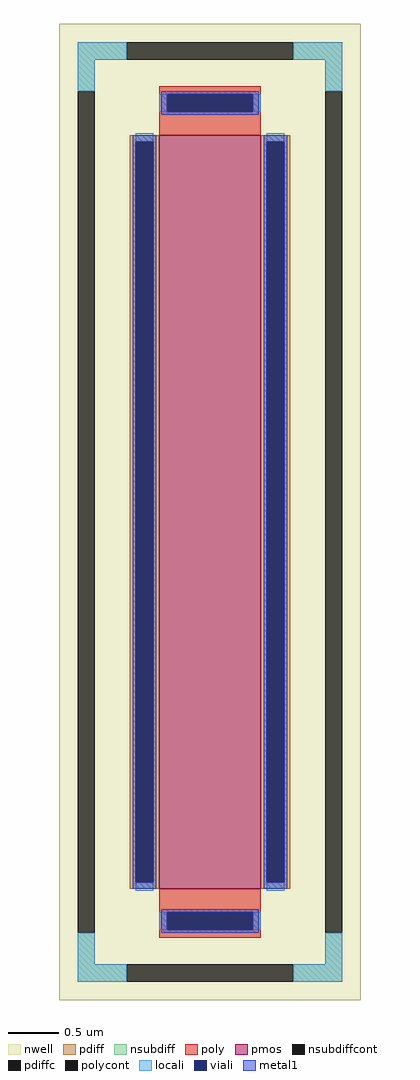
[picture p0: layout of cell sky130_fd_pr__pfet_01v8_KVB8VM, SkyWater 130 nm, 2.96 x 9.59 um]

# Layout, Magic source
magic
tech sky130A
magscale 1 2
<< nwell >>
rect -296 -959 296 959
<< pmos >>
rect -100 -740 100 740
<< pdiff >>
rect -158 728 -100 740
rect -158 -728 -146 728
rect -112 -728 -100 728
rect -158 -740 -100 -728
rect 100 728 158 740
rect 100 -728 112 728
rect 146 -728 158 728
rect 100 -740 158 -728
<< pdiffc >>
rect -146 -728 -112 728
rect 112 -728 146 728
<< nsubdiff >>
rect -260 889 -164 923
rect 164 889 260 923
rect -260 827 -226 889
rect 226 827 260 889
rect -260 -889 -226 -827
rect 226 -889 260 -827
rect -260 -923 -164 -889
rect 164 -923 260 -889
<< nsubdiffcont >>
rect -164 889 164 923
rect -260 -827 -226 827
rect 226 -827 260 827
rect -164 -923 164 -889
<< poly >>
rect -100 821 100 837
rect -100 787 -84 821
rect 84 787 100 821
rect -100 740 100 787
rect -100 -787 100 -740
rect -100 -821 -84 -787
rect 84 -821 100 -787
rect -100 -837 100 -821
<< polycont >>
rect -84 787 84 821
rect -84 -821 84 -787
<< locali >>
rect -260 889 -164 923
rect 164 889 260 923
rect -260 827 -226 889
rect 226 827 260 889
rect -100 787 -84 821
rect 84 787 100 821
rect -146 728 -112 744
rect -146 -744 -112 -728
rect 112 728 146 744
rect 112 -744 146 -728
rect -100 -821 -84 -787
rect 84 -821 100 -787
rect -260 -889 -226 -827
rect 226 -889 260 -827
rect -260 -923 -164 -889
rect 164 -923 260 -889
<< viali >>
rect -84 787 84 821
rect -146 -728 -112 728
rect 112 -728 146 728
rect -84 -821 84 -787
<< metal1 >>
rect -96 821 96 827
rect -96 787 -84 821
rect 84 787 96 821
rect -96 781 96 787
rect -152 728 -106 740
rect -152 -728 -146 728
rect -112 -728 -106 728
rect -152 -740 -106 -728
rect 106 728 152 740
rect 106 -728 112 728
rect 146 -728 152 728
rect 106 -740 152 -728
rect -96 -787 96 -781
rect -96 -821 -84 -787
rect 84 -821 96 -787
rect -96 -827 96 -821
<< properties >>
string FIXED_BBOX -243 -906 243 906
string gencell sky130_fd_pr__pfet_01v8
string library sky130
string parameters w 7.4 l 1.0 m 1 nf 1 diffcov 100 polycov 100 guard 1 glc 1 grc 1 gtc 1 gbc 1 tbcov 100 rlcov 100 topc 1 botc 1 poverlap 0 doverlap 1 lmin 0.15 wmin 0.42 compatible {sky130_fd_pr__pfet_01v8  sky130_fd_pr__pfet_01v8_lvt sky130_fd_pr__pfet_01v8_hvt  sky130_fd_pr__pfet_g5v0d10v5} full_metal 1 viasrc 100 viadrn 100 viagate 100 viagb 0 viagr 0 viagl 0 viagt 0
<< end >>
